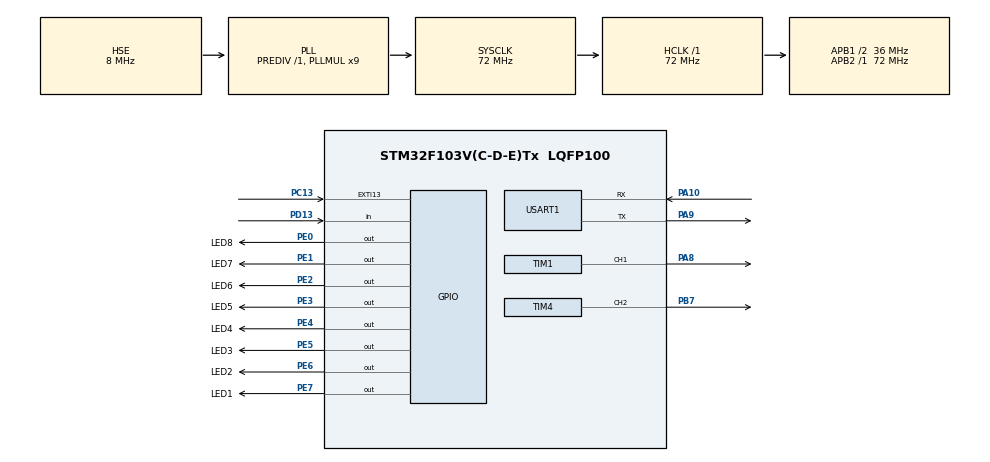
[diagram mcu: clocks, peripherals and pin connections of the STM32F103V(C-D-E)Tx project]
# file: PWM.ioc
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Dma.Request0=USART1_RX
Dma.Request1=USART1_TX
Dma.USART1_RX.0.Direction=DMA_PERIPH_TO_MEMORY
Dma.USART1_RX.0.Instance=DMA1_Channel5
Dma.USART1_RX.0.MemDataAlignment=DMA_MDATAALIGN_BYTE
Dma.USART1_RX.0.MemInc=DMA_MINC_ENABLE
Dma.USART1_RX.0.Mode=DMA_NORMAL
Dma.USART1_RX.0.PeriphDataAlignment=DMA_PDATAALIGN_BYTE
Dma.USART1_RX.0.PeriphInc=DMA_PINC_DISABLE
Dma.USART1_RX.0.Priority=DMA_PRIORITY_HIGH
Dma.USART1_TX.1.Direction=DMA_MEMORY_TO_PERIPH
Dma.USART1_TX.1.Instance=DMA1_Channel4
Dma.USART1_TX.1.MemDataAlignment=DMA_MDATAALIGN_BYTE
Dma.USART1_TX.1.MemInc=DMA_MINC_ENABLE
Dma.USART1_TX.1.Mode=DMA_NORMAL
Dma.USART1_TX.1.PeriphDataAlignment=DMA_PDATAALIGN_BYTE
Dma.USART1_TX.1.PeriphInc=DMA_PINC_DISABLE
Dma.USART1_TX.1.Priority=DMA_PRIORITY_HIGH
Mcu.Family=STM32F1
Mcu.Name=STM32F103V(C-D-E)Tx
Mcu.Package=LQFP100
NVIC.DMA1_Channel4_IRQn=true\:0\:1\:false\:false\:true\:false\:true
NVIC.DMA1_Channel5_IRQn=true\:0\:1\:false\:false\:true\:false\:true
NVIC.EXTI15_10_IRQn=true\:0\:2\:true\:false\:true\:true\:true
NVIC.PriorityGroup=NVIC_PRIORITYGROUP_2
NVIC.TIM1_UP_IRQn=true\:0\:0\:false\:false\:true\:true\:true
NVIC.USART1_IRQn=true\:0\:0\:false\:false\:true\:true\:true
OSC_IN.Mode=HSE-External-Oscillator
OSC_IN.Signal=RCC_OSC_IN
OSC_OUT.Mode=HSE-External-Oscillator
OSC_OUT.Signal=RCC_OSC_OUT
PA10.Mode=Asynchronous
PA10.Signal=USART1_RX
PA8.Signal=S_TIM1_CH1
PA9.Mode=Asynchronous
PA9.Signal=USART1_TX
PB7.Signal=S_TIM4_CH2
PC13-TAMPER-RTC.GPIO_ModeDefaultEXTI=GPIO_MODE_IT_FALLING
PC13-TAMPER-RTC.GPIO_PuPd=GPIO_PULLUP
PC13-TAMPER-RTC.Signal=GPXTI13
PC14-OSC32_IN.Mode=LSE-External-Oscillator
PC14-OSC32_IN.Signal=RCC_OSC32_IN
PC15-OSC32_OUT.Mode=LSE-External-Oscillator
PC15-OSC32_OUT.Signal=RCC_OSC32_OUT
PD13.GPIO_PuPd=GPIO_PULLUP
PD13.Signal=GPIO_Input
PE0.GPIO_Label=LED8
PE0.PinState=GPIO_PIN_RESET
PE0.Signal=GPIO_Output
PE1.GPIO_Label=LED7
PE1.Signal=GPIO_Output
PE2.GPIO_Label=LED6
PE2.Signal=GPIO_Output
PE3.GPIO_Label=LED5
PE3.Signal=GPIO_Output
PE4.GPIO_Label=LED4
PE4.Signal=GPIO_Output
PE5.GPIO_Label=LED3
PE5.Signal=GPIO_Output
PE6.GPIO_Label=LED2
PE6.Signal=GPIO_Output
PE7.GPIO_Label=LED1
PE7.Signal=GPIO_Output
ProjectManager.HeapSize=0x200
ProjectManager.StackSize=0x400
ProjectManager.TargetToolchain=MDK-ARM V5
RCC.AHBFreq_Value=72000000
RCC.APB1CLKDivider=RCC_HCLK_DIV2
RCC.APB1Freq_Value=36000000
RCC.APB1TimFreq_Value=72000000
RCC.APB2Freq_Value=72000000
RCC.APB2TimFreq_Value=72000000
RCC.HCLKFreq_Value=72000000
RCC.PLLMUL=RCC_PLL_MUL9
RCC.PLLSourceVirtual=RCC_PLLSOURCE_HSE
RCC.SYSCLKFreq_VALUE=72000000
RCC.SYSCLKSource=RCC_SYSCLKSOURCE_PLLCLK
RCC.USBFreq_Value=72000000
SH.S_TIM1_CH1.0=TIM1_CH1,PWM Generation1 CH1
SH.S_TIM4_CH2.0=TIM4_CH2,PWM Generation2 CH2
TIM1.AutoReloadPreload=TIM_AUTORELOAD_PRELOAD_ENABLE
TIM1.Channel-PWM\ Generation1\ CH1=TIM_CHANNEL_1
TIM1.OCIdleState_1=TIM_OCIDLESTATE_RESET
TIM1.OCPolarity_1=TIM_OCPOLARITY_LOW
TIM1.Period=100-1
TIM1.Prescaler=7200-1
TIM1.Pulse-PWM\ Generation1\ CH1=50
TIM4.AutoReloadPreload=TIM_AUTORELOAD_PRELOAD_ENABLE
TIM4.Channel-PWM\ Generation2\ CH2=TIM_CHANNEL_2
TIM4.Period=200
TIM4.Prescaler=7200-1
TIM4.Pulse-PWM\ Generation2\ CH2=15
USART1.VirtualMode=VM_ASYNC
VP_SYS_VS_ND.Mode=No_Debug
VP_TIM1_VS_ClockSourceINT.Mode=Internal
VP_TIM4_VS_ClockSourceINT.Mode=Internal
board=custom

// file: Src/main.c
/* USER CODE BEGIN Header */
/**
  ******************************************************************************
  * @file           : main.c
  * @brief          : Main program body
  ******************************************************************************
  * @attention
  *
  * <h2><center>&copy; Copyright (c) 2021 STMicroelectronics.
  * All rights reserved.</center></h2>
  *
  * This software component is licensed by ST under BSD 3-Clause license,
  * the "License"; You may not use this file except in compliance with the
  * License. You may obtain a copy of the License at:
  *                        opensource.org/licenses/BSD-3-Clause
  *
  ******************************************************************************
  */
/* USER CODE END Header */

#include "main.h"
#include "dma.h"
#include "tim.h"
#include "usart.h"
#include "gpio.h"

void SystemClock_Config(void);

/* USER CODE BEGIN 0 */
void InitXXX(void);
uint8_t flag = 0;
/* USER CODE END 0 */

int main(void)
{
  /* USER CODE BEGIN 1 */
	uint8_t len;
	uint32_t ledcount;
	uint8_t dir=0;
	uint16_t pwmvalue =1500;
  /* USER CODE END 1 */

  /* MCU Configuration--------------------------------------------------------*/

  /* Reset of all peripherals, Initializes the Flash interface and the Systick. */
  HAL_Init();

  /* Configure the system clock */
  SystemClock_Config();

  /* Initialize all configured peripherals */
  MX_GPIO_Init();
  MX_DMA_Init();
  MX_USART1_UART_Init();
  MX_TIM1_Init();
  MX_TIM4_Init();
  /* USER CODE BEGIN 2 */
	InitXXX();
  /* USER CODE END 2 */

  /* Infinite loop */
  /* USER CODE BEGIN WHILE */
  while (1)
  {
		if(DMA_usart1_Rx_Flag==1)
		{
			DMA_usart1_Rx_Flag=0;
			RevData_Process();
			len=DMA_usart1_Rx_Size;
			for(uint8_t m=0;m<len;m++)
			{
				USART1_DMA_TX_BUFFER[m] = USART_RX_BUF[m];
			}
      USER_DMA_send(USART1_DMA_TX_BUFFER,len);

		}

    if(flag)
		{
			HAL_Delay(120);
			ledcount++;
			if(ledcount==500000)
			{
				ledcount=0;
			}
			if(!(ledcount%10))
			{
				dir^=1;
			}
      if(dir==1)
				TIM4->CCR2 = 2500;
			else
				TIM4->CCR2 = 500;
		}

    /* USER CODE END WHILE */

  }
}

void SystemClock_Config(void)
{
  RCC_OscInitTypeDef RCC_OscInitStruct = {0};
  RCC_ClkInitTypeDef RCC_ClkInitStruct = {0};

  /** Initializes the CPU, AHB and APB busses clocks
  */
  RCC_OscInitStruct.OscillatorType = RCC_OSCILLATORTYPE_HSE;
  RCC_OscInitStruct.HSEState = RCC_HSE_ON;
  RCC_OscInitStruct.HSEPredivValue = RCC_HSE_PREDIV_DIV1;
  RCC_OscInitStruct.HSIState = RCC_HSI_ON;
  RCC_OscInitStruct.PLL.PLLState = RCC_PLL_ON;
  RCC_OscInitStruct.PLL.PLLSource = RCC_PLLSOURCE_HSE;
  RCC_OscInitStruct.PLL.PLLMUL = RCC_PLL_MUL9;
  if (HAL_RCC_OscConfig(&RCC_OscInitStruct) != HAL_OK)
  {
    Error_Handler();
  }
  /** Initializes the CPU, AHB and APB busses clocks
  */
  RCC_ClkInitStruct.ClockType = RCC_CLOCKTYPE_HCLK|RCC_CLOCKTYPE_SYSCLK
                              |RCC_CLOCKTYPE_PCLK1|RCC_CLOCKTYPE_PCLK2;
  RCC_ClkInitStruct.SYSCLKSource = RCC_SYSCLKSOURCE_PLLCLK;
  RCC_ClkInitStruct.AHBCLKDivider = RCC_SYSCLK_DIV1;
  RCC_ClkInitStruct.APB1CLKDivider = RCC_HCLK_DIV2;
  RCC_ClkInitStruct.APB2CLKDivider = RCC_HCLK_DIV1;

  if (HAL_RCC_ClockConfig(&RCC_ClkInitStruct, FLASH_LATENCY_2) != HAL_OK)
  {
    Error_Handler();
  }
}

/* USER CODE BEGIN 4 */
void InitXXX(void)
{
	//HAL_UART_Receive_IT(&huart1, (uint8_t *)aRxBuffer, RXBUFFERSIZE);//该函数会开启接收中断：标志位UART_IT_RXNE，并且设置接收缓冲以及接收缓冲接收最大数据量

	__HAL_UART_ENABLE_IT(&huart1,UART_IT_IDLE);//使能IDLE中断
	HAL_UART_Receive_DMA(&huart1,USART1_DMA_RX_BUFFER,USART1_DMA_RX_SIZE);//打开DMA接收，数据存入USART1_DMA_RX_BUFFER数组中

	//HAL_TIM_Base_Start_IT(&htim1);
	HAL_TIM_PWM_Start(&htim4,TIM_CHANNEL_2);

}

void HAL_GPIO_EXTI_Callback(uint16_t GPIO_Pin)
{
	switch(GPIO_Pin)
	{
		case GPIO_PIN_13:
			flag ^=1;
			break;
		default:
			break;

	}
}

/* USER CODE END 4 */

void Error_Handler(void)
{
}

/************************ (C) COPYRIGHT STMicroelectronics *****END OF FILE****/
